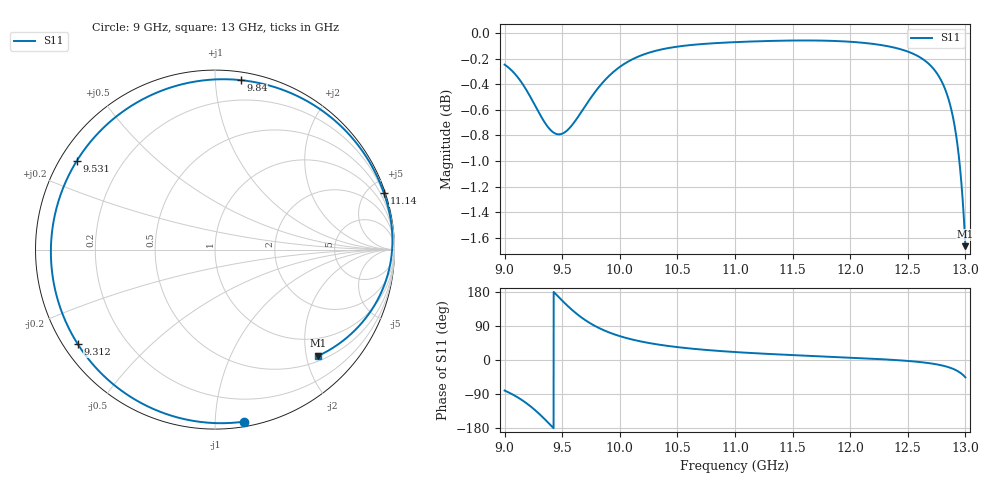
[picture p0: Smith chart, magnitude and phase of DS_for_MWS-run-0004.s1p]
! TOUCHSTONE file generated by CST DESIGN STUDIO
! Date and time: Tue Feb  4 12:50:16 2025
! Project name: C:\Work\MatlabApps\UnitCellOptimizationMatlab\CST\unitcell.cst
! Tree item: Tasks\Sweep1\SPara1\S-Parameters
! Header version: 2024
! Port assignment regex: !\s*Touchstone port\s*([0-9]+)\s*=\s*(CST MWS port|CST DES external port|CST DES block port)\s*(.+)\s* \(\"(.*)\"\)(\s*mode\s*([0-9]+))?.*
! Touchstone port assignment:
! Touchstone port 1 = CST DES external port 1 ("")
# GHz S MA R 50
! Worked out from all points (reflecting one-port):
!   4001 points, 9 GHz to 13 GHz, reference 50 ohm
!   lowest |S11| = -1.7 dB at 13 GHz (marker M1), VSWR 10.46, Z = 30 - j112 ohm
!   phase of S11 starts at -81 deg and turns -325 deg over the sweep
!   S11 on the Smith chart (normalised r, x): 9 GHz: 0.03, -1.18; 9.312 GHz: 0.04, -0.31; 9.531 GHz: 0.05, +0.29; 9.84 GHz: 0.05, +1.16; 11.14 GHz: 0.15, +6.16; 13 GHz: 0.60, -2.23
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9  0.9719 -80.6
9.096  0.9631 -95.4
9.173  0.9526 -110.4
9.243  0.9407 -126.7
9.312  0.9284 -145.4
9.362  0.9207 -160.3
9.408  0.9156 -174.6
9.453  0.9131 171.2
9.5  0.9134 156.7
9.531  0.9151 147.4
9.6  0.9222 128.4
9.67  0.932 111.6
9.747  0.9431 96.3
9.84  0.9551 81.4
9.917  0.9631 71.6
10  0.9699 63.0
10.102  0.9762 54.5
10.216  0.9812 46.9
10.5  0.9878 34.0
11  0.9918 21.0
11.141  0.9923 18.4
11.5  0.9932 12.9
12  0.9921 6.2
12.5  0.9834 -2.5
12.702  0.9707 -9.1
12.846  0.9446 -18.3
12.93  0.9051 -28.8
13  0.8255 -45.8
